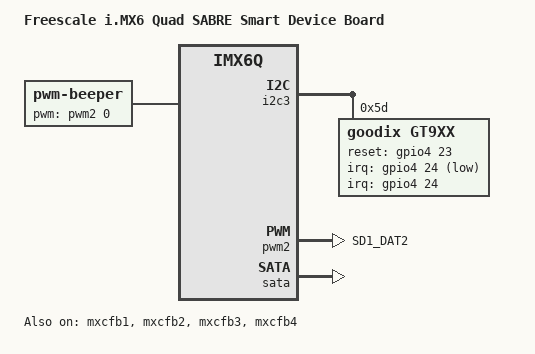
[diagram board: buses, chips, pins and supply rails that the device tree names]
/*
 * Copyright 2012=2015 Freescale Semiconductor, Inc.
 * Copyright 2011 Linaro Ltd.
 *
 * The code contained herein is licensed under the GNU General Public
 * License. You may obtain a copy of the GNU General Public License
 * Version 2 or later at the following locations:
 *
 * http://www.opensource.org/licenses/gpl-license.html
 * http://www.gnu.org/copyleft/gpl.html
 */

/dts-v1/;

#include "imx6q.dtsi"
#include "imx6qdl-sabresd.dtsi"

/ {
	model = "Freescale i.MX6 Quad SABRE Smart Device Board";
	compatible = "fsl,imx6q-sabresd", "fsl,imx6q";

    pwm-beeper {
        compatible = "pwm-beeper";
        pwms = <&pwm2 0 500000>;
        pwm-names = "pwm-beeper";
        beeper-hz = <2000>;
    };
};
&iomuxc {
	imx6qdl-sabresd {
		/* add pinmux for gt9271 touchscreen */
		pinctrl_gpio_gt9271: pinctrl_gpio_gt9271 {
			fsl,pins = <
				MX6QDL_PAD_DISP0_DAT2__GPIO4_IO23	0x1b0b0
				MX6QDL_PAD_DISP0_DAT3__GPIO4_IO24   0x1b0b0
				>;
		};

		/*add pinmux gpio keys*/
		pinctrl_gpio_keys_sk: pinctrl_gpio_keys_sk {
			fsl,pins = <
				MX6QDL_PAD_NANDF_WP_B__GPIO6_IO09  0x1b0b0
				MX6QDL_PAD_NANDF_D2__GPIO2_IO02    0x1b0b0
				MX6QDL_PAD_GPIO_9__GPIO1_IO09      0x1b0b0
				MX6QDL_PAD_GPIO_18__GPIO7_IO13     0x1b0b0
			>;
		};

		/*add pinmux gpio pwm2 buzzer*/
		pinctrl_gpio_pwm2: pinctrl_gpio_pwm2 {
			fsl,pins = <
				MX6QDL_PAD_SD1_DAT2__PWM2_OUT 0x1b0b1
			>;
		};
	};
};
&i2c3 {
	status = "okay";
	gt9xx@5d {
		compatible = "goodix,gt9xx";
		status = "okay";
		reg = <0x5d>; 
		pinctrl-names = "default";
		pinctrl-0 = <&pinctrl_gpio_gt9271>;
		interrupt-parent = <&gpio4>;
		interrupts = <24 0x2>;
		reset-gpios = <&gpio4 23 GPIO_ACTIVE_HIGH>;
		irq-gpios = <&gpio4 24 GPIO_ACTIVE_LOW>;
		irq-flags = <0x2>;

		touchscreen-max-id = <10>;
		touchscreen-size-x = <4096>;
		touchscreen-size-y = <4096>;
		touchscreen-max-w = <1024>;
		touchscreen-max-p = <1024>;

		goodix,slide-wakeup = <0>;
		goodix,type-a-report = <0>;
		goodix,driver-send-cfg = <0>;
		goodix,resume-in-workqueue = <0>;
		goodix,int-sync = <1>;
		goodix,swap-x2y = <0>;
		goodix,esd-protect = <1>;
		goodix,auto-update-cfg = <0>;
		goodix,power-off-sleep = <0>;
		goodix,pen-suppress-finger = <0>;
		goodix,cfg-group0 = [
			53 D0 02 00 05 05 F5 D5 21 48 2D 0F 5A 41 0E 05 00 00 32 32 20 00 05 14 14 1A 14 8B 2B 00
		];
	};
};

&pwm2 {
	pinctrl-names = "default";
	pinctrl-0 = <&pinctrl_gpio_pwm2>;
	status = "okay";
};


&battery {
	offset-charger = <1900>;
	offset-discharger = <1694>;
	offset-usb-charger = <1685>;
};

&ldb {
	lvds-channel@0 {
		crtc = "ipu2-di0";
	};

	lvds-channel@1 {
		crtc = "ipu2-di1";
	};
};

&mxcfb1 {
	status = "okay";
};

&mxcfb2 {
	status = "okay";
};

&mxcfb3 {
	status = "okay";
};

&mxcfb4 {
	status = "okay";
};

&sata {
	status = "okay";
};
